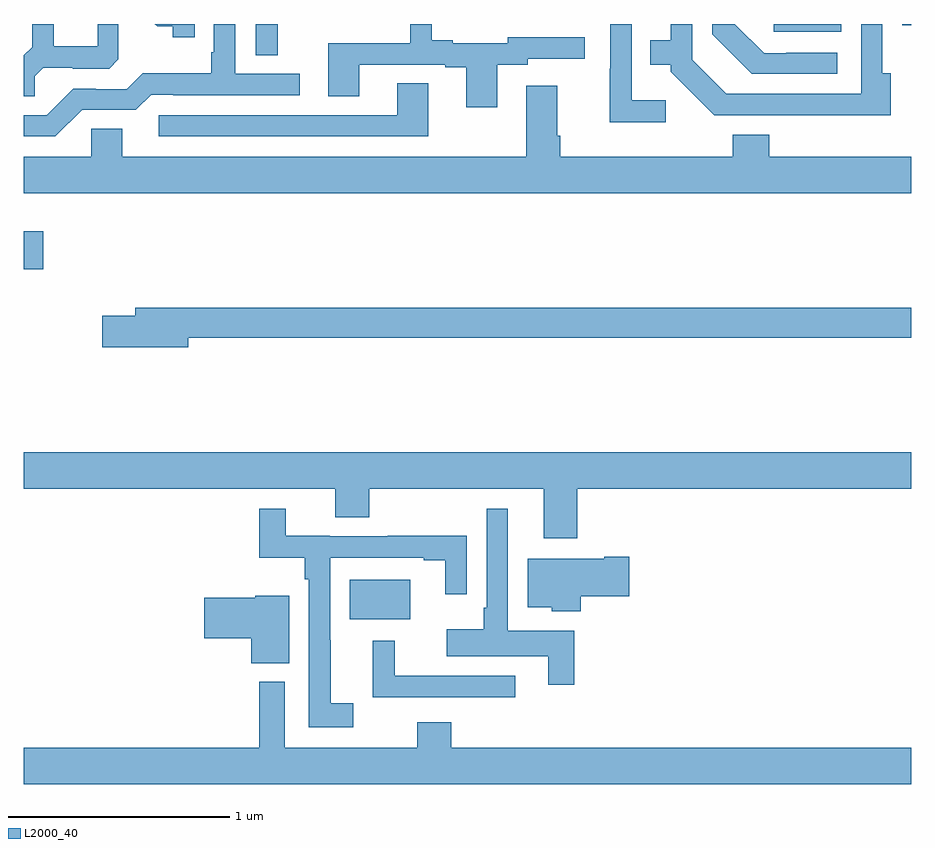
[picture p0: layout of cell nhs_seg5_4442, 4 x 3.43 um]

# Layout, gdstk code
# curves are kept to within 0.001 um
import gdstk
lib = gdstk.Library(unit=1e-6, precision=1e-09)
def R(c, l, rs):  # rectangles x0, y0, x1, y1
    for r in rs: c.add(gdstk.rectangle(r[:2], r[2:], *l))
def P(c, l, *ps):  # polygons
    for p in ps: c.add(gdstk.Polygon(p, *l))
L2000_40 = (2000, 40)

nhs_seg5_4442 = lib.new_cell('nhs_seg5_4442')
R(nhs_seg5_4442, L2000_40, [(372.47,912.116,372.742,912.292), (371,913.694,371.086,913.864), (372.045,914.659,372.144,914.799), (374.382,914.763,374.686,914.799), (374.961,914.793,375,914.799)])
P(nhs_seg5_4442, L2000_40, [(373.894,914.455),(373.74,914.455),(373.74,914.799),(373.644,914.799),(373.644,914.597),(373.642,914.597),(373.642,914.357),(373.894,914.357)],
  [(374.908,914.578),(374.871,914.578),(374.871,914.799),(374.775,914.799),(374.775,914.484),(374.166,914.484),(374.013,914.637),(374.013,914.799),(373.916,914.799),(373.916,914.725),(373.825,914.725),(373.825,914.615),(373.917,914.615),(373.917,914.583),(374.112,914.388),(374.908,914.387)],
  [(371.262,914.412),(371.505,914.412),(371.574,914.481),(371.674,914.481),(371.674,914.478),(372.244,914.478),(372.244,914.574),(371.952,914.574),(371.952,914.799),(371.856,914.799),(371.856,914.671),(371.844,914.671),(371.844,914.578),(371.536,914.578),(371.463,914.505),(371.324,914.505),(371.324,914.508),(371.223,914.508),(371.103,914.388),(371,914.388),(371,914.292),(371.142,914.292)],
  [(374.668,914.67),(374.437,914.67),(374.437,914.667),(374.337,914.667),(374.205,914.799),(374.103,914.799),(374.103,914.753),(374.282,914.574),(374.668,914.574)],
  [(371.771,914.799),(371.59,914.799),(371.6,914.789),(371.67,914.789),(371.67,914.739),(371.771,914.739)],
  [(373.135,914.616),(373.272,914.616),(373.272,914.643),(373.528,914.643),(373.528,914.739),(373.182,914.739),(373.182,914.712),(372.934,914.712),(372.934,914.725),(372.838,914.725),(372.838,914.799),(372.741,914.799),(372.741,914.712),(372.371,914.712),(372.371,914.473),(372.511,914.473),(372.511,914.616),(372.899,914.616),(372.899,914.604),(372.995,914.604),(372.995,914.424),(373.135,914.424)],
  [(371.049,914.564),(371.086,914.601),(371.22,914.601),(371.22,914.598),(371.385,914.598),(371.426,914.639),(371.426,914.799),(371.332,914.799),(371.332,914.698),(371.135,914.698),(371.135,914.799),(371.037,914.799),(371.037,914.695),(371,914.658),(371,914.473),(371.049,914.473)],
  [(372.823,914.531),(372.683,914.531),(372.683,914.388),(371.607,914.388),(371.607,914.292),(372.823,914.292)],
  [(375,914.2),(374.36,914.2),(374.36,914.299),(374.195,914.299),(374.195,914.2),(373.418,914.2),(373.418,914.296),(373.405,914.296),(373.405,914.521),(373.265,914.521),(373.265,914.2),(371.443,914.2),(371.443,914.327),(371.304,914.327),(371.304,914.2),(371,914.2),(371,914.036),(375,914.036)],
  [(371.74,913.384),(375,913.384),(375,913.52),(371.501,913.52),(371.501,913.484),(371.352,913.484),(371.352,913.342),(371.74,913.342)],
  [(373.496,912.704),(375,912.704),(375,912.868),(371,912.868),(371,912.704),(372.404,912.704),(372.404,912.574),(372.557,912.574),(372.557,912.704),(373.343,912.704),(373.343,912.48),(373.496,912.48)],
  [(372.484,911.737),(372.383,911.737),(372.383,912.02),(372.381,912.02),(372.381,912.393),(372.803,912.393),(372.803,912.381),(372.899,912.381),(372.899,912.228),(372.996,912.228),(372.996,912.491),(372.64,912.491),(372.64,912.489),(372.378,912.489),(372.378,912.491),(372.18,912.491),(372.18,912.613),(372.061,912.613),(372.061,912.392),(372.265,912.392),(372.265,912.296),(372.285,912.296),(372.285,911.628),(372.484,911.628)],
  [(373.481,912.064),(373.182,912.064),(373.182,912.613),(373.086,912.613),(373.086,912.166),(373.074,912.166),(373.074,912.07),(372.906,912.07),(372.906,911.948),(373.364,911.948),(373.364,911.82),(373.481,911.82)],
  [(373.511,912.218),(373.729,912.218),(373.729,912.396),(373.616,912.396),(373.616,912.388),(373.271,912.388),(373.271,912.17),(373.38,912.17),(373.38,912.152),(373.511,912.152)],
  [(372.196,912.22),(372.042,912.22),(372.042,912.212),(371.814,912.212),(371.814,912.029),(372.026,912.029),(372.026,911.917),(372.196,911.917)],
  [(373.216,911.859),(372.672,911.859),(372.672,912.019),(372.572,912.019),(372.572,911.763),(373.216,911.763)],
  [(375,911.536),(372.926,911.536),(372.926,911.65),(372.773,911.65),(372.773,911.536),(372.177,911.536),(372.177,911.832),(372.061,911.832),(372.061,911.536),(371,911.536),(371,911.372),(375,911.372)])

lib.write_gds('nhs_seg5_4442.gds')
